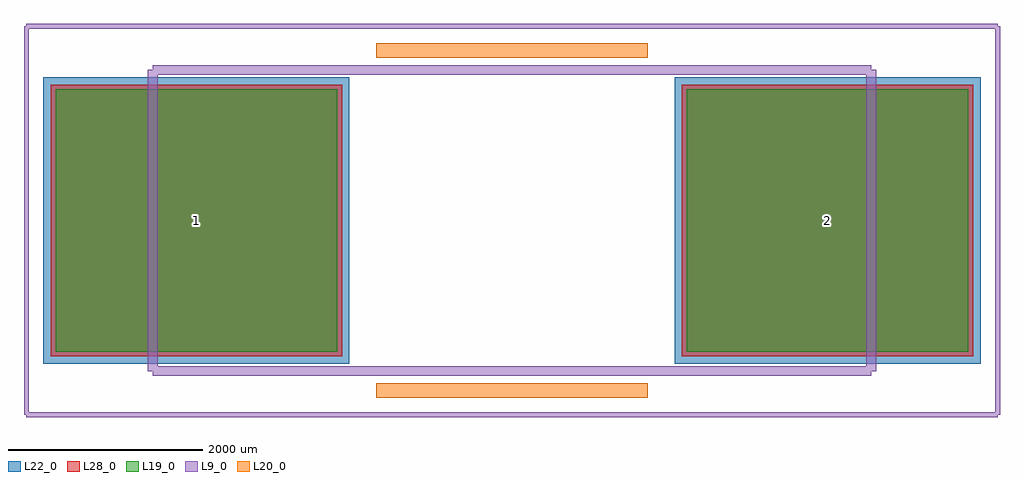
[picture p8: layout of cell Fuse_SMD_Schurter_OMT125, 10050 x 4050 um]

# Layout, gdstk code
import gdstk
lib = gdstk.Library(unit=1e-6, precision=1e-09)
def R(c, l, rs):  # rectangles x0, y0, x1, y1
    for r in rs: c.add(gdstk.rectangle(r[:2], r[2:], *l))
L9_0 = (9, 0)
L19_0 = (19, 0)
L20_0 = (20, 0)
L22_0 = (22, 0)
L28_0 = (28, 0)

fuse_smd_schurter_omt125 = lib.new_cell('Fuse_SMD_Schurter_OMT125')
R(fuse_smd_schurter_omt125, L19_0, [(-4700,-1350,-1800,1350), (1800,-1350,4700,1350)])
R(fuse_smd_schurter_omt125, L22_0, [(-4825,-1475,-1675,1475), (1675,-1475,4825,1475)])
R(fuse_smd_schurter_omt125, L28_0, [(-4750,-1400,-1750,1400), (1750,-1400,4750,1400)])
fuse_smd_schurter_omt125.add(gdstk.FlexPath([(-1400,1750),(1400,1750)], 149.998, ends="flush", simple_path=True, layer=20, datatype=0))  # L20_0
fuse_smd_schurter_omt125.add(gdstk.FlexPath([(-1400,-1750),(1400,-1750)], 149.998, ends="flush", simple_path=True, layer=20, datatype=0))  # L20_0
fuse_smd_schurter_omt125.add(gdstk.FlexPath([(3700,1550),(-3700,1550)], 100, ends="flush", simple_path=True, layer=9, datatype=0))  # L9_0
fuse_smd_schurter_omt125.add(gdstk.FlexPath([(3700,-1550),(3700,1550)], 100, ends="flush", simple_path=True, layer=9, datatype=0))  # L9_0
fuse_smd_schurter_omt125.add(gdstk.FlexPath([(-3700,-1550),(3700,-1550)], 100, ends="flush", simple_path=True, layer=9, datatype=0))  # L9_0
fuse_smd_schurter_omt125.add(gdstk.FlexPath([(-3700,1550),(-3700,-1550)], 100, ends="flush", simple_path=True, layer=9, datatype=0))  # L9_0
fuse_smd_schurter_omt125.add(gdstk.FlexPath([(-5000,-2000),(5000,-2000)], 50, ends="flush", simple_path=True, layer=9, datatype=0))  # L9_0
fuse_smd_schurter_omt125.add(gdstk.FlexPath([(5000,2000),(-5000,2000)], 50, ends="flush", simple_path=True, layer=9, datatype=0))  # L9_0
fuse_smd_schurter_omt125.add(gdstk.FlexPath([(-5000,2000),(-5000,-2000)], 50, ends="flush", simple_path=True, layer=9, datatype=0))  # L9_0
fuse_smd_schurter_omt125.add(gdstk.FlexPath([(5000,2000),(5000,-2000)], 50, ends="flush", simple_path=True, layer=9, datatype=0))  # L9_0
fuse_smd_schurter_omt125.add(gdstk.Label('2', (3250,0), layer=28, texttype=0))
fuse_smd_schurter_omt125.add(gdstk.Label('1', (-3250,0), layer=28, texttype=0))
fuse_smd_schurter_omt125.add(gdstk.Label('type', (0,-3000), layer=9, texttype=0))
fuse_smd_schurter_omt125.add(gdstk.Label('devicename', (0,2700), layer=9, texttype=0))

lib.write_gds('Fuse_SMD_Schurter_OMT125.gds')
